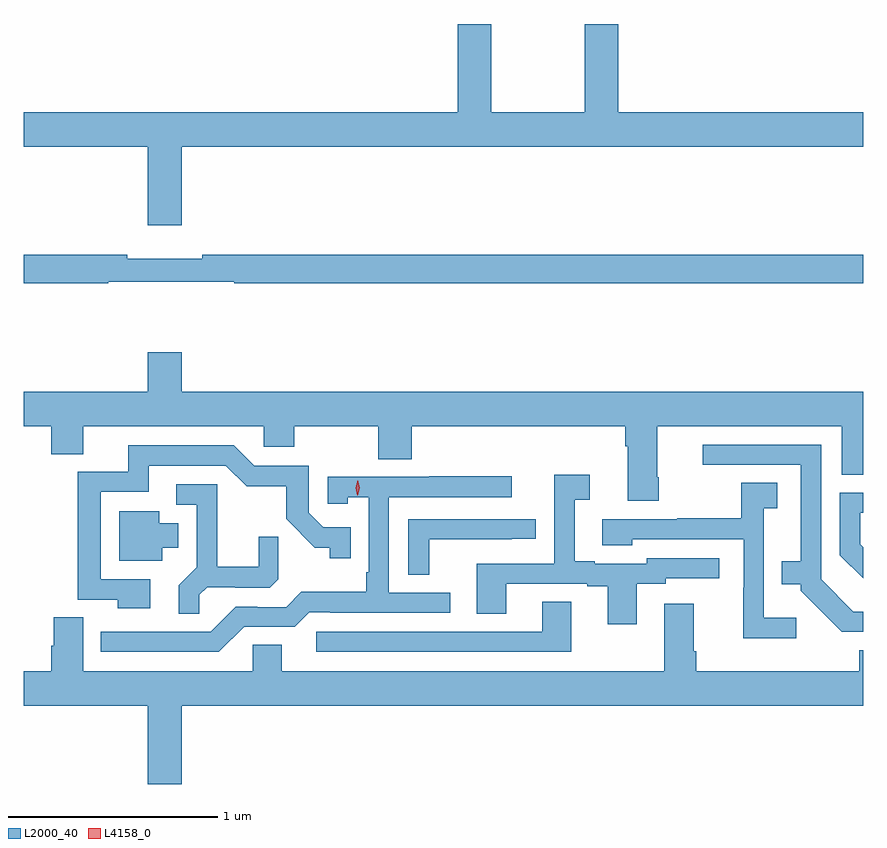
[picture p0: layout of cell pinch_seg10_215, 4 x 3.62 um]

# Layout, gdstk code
import gdstk
lib = gdstk.Library(unit=1e-6, precision=1e-09)
def P(c, l, *ps):  # polygons
    for p in ps: c.add(gdstk.Polygon(p, *l))
L2000_40 = (2000, 40)
L4158_0 = (4158, 0)

pinch_seg10_215 = lib.new_cell('pinch_seg10_215')
P(pinch_seg10_215, L2000_40, [(632.704,1321.628),(635.951,1321.628),(635.951,1321.792),(634.784,1321.792),(634.784,1322.213),(634.624,1322.213),(634.624,1321.792),(634.179,1321.792),(634.179,1322.213),(634.019,1322.213),(634.019,1321.792),(631.951,1321.792),(631.951,1321.628),(632.54,1321.628),(632.54,1321.254),(632.704,1321.254)],
  [(632.354,1320.984),(632.954,1320.984),(632.954,1320.976),(635.951,1320.976),(635.951,1321.112),(632.8,1321.112),(632.8,1321.093),(632.444,1321.093),(632.444,1321.112),(631.951,1321.112),(631.951,1320.976),(632.354,1320.976)],
  [(634.977,1320.052),(634.969,1320.052),(634.969,1320.296),(635.849,1320.296),(635.849,1320.064),(635.951,1320.064),(635.951,1320.46),(632.704,1320.46),(632.704,1320.649),(632.54,1320.649),(632.54,1320.46),(631.951,1320.46),(631.951,1320.296),(632.081,1320.296),(632.081,1320.163),(632.233,1320.163),(632.233,1320.296),(633.093,1320.296),(633.093,1320.198),(633.24,1320.198),(633.24,1320.296),(633.64,1320.296),(633.64,1320.139),(633.8,1320.139),(633.8,1320.296),(634.817,1320.296),(634.817,1320.2),(634.829,1320.2),(634.829,1319.94),(634.977,1319.94)],
  [(635.951,1319.412),(635.904,1319.412),(635.751,1319.565),(635.751,1320.207),(635.187,1320.207),(635.187,1320.111),(635.654,1320.111),(635.654,1319.653),(635.563,1319.653),(635.563,1319.543),(635.655,1319.543),(635.655,1319.511),(635.85,1319.316),(635.951,1319.316)],
  [(632.554,1319.565),(632.316,1319.565),(632.316,1319.982),(632.545,1319.982),(632.545,1320.108),(632.913,1320.108),(633.012,1320.01),(633.201,1320.01),(633.201,1319.854),(633.338,1319.717),(633.408,1319.717),(633.408,1319.667),(633.509,1319.667),(633.509,1319.814),(633.378,1319.814),(633.309,1319.883),(633.309,1320.108),(633.048,1320.108),(632.952,1320.204),(632.447,1320.204),(632.447,1320.078),(632.208,1320.078),(632.208,1319.469),(632.398,1319.469),(632.398,1319.429),(632.554,1319.429)],
  [(634.873,1319.544),(635.01,1319.544),(635.01,1319.571),(635.266,1319.571),(635.266,1319.667),(634.92,1319.667),(634.92,1319.64),(634.672,1319.64),(634.672,1319.653),(634.576,1319.653),(634.576,1319.944),(634.648,1319.944),(634.648,1320.064),(634.479,1320.064),(634.479,1319.64),(634.109,1319.64),(634.109,1319.401),(634.249,1319.401),(634.249,1319.544),(634.637,1319.544),(634.637,1319.532),(634.733,1319.532),(634.733,1319.352),(634.873,1319.352)],
  [(633,1319.34),(633.243,1319.34),(633.312,1319.409),(633.412,1319.409),(633.412,1319.406),(633.982,1319.406),(633.982,1319.502),(633.69,1319.502),(633.69,1319.958),(634.276,1319.958),(634.276,1320.057),(633.883,1320.057),(633.883,1320.054),(633.399,1320.054),(633.399,1319.925),(633.495,1319.925),(633.495,1319.957),(633.594,1319.957),(633.594,1319.599),(633.582,1319.599),(633.582,1319.506),(633.274,1319.506),(633.201,1319.433),(633.062,1319.433),(633.062,1319.436),(632.961,1319.436),(632.841,1319.316),(632.318,1319.316),(632.318,1319.22),(632.88,1319.22)],
  [(635.632,1319.383),(635.478,1319.383),(635.478,1319.905),(635.542,1319.905),(635.542,1320.026),(635.37,1320.026),(635.37,1319.856),(635.065,1319.856),(635.065,1319.853),(634.707,1319.853),(634.707,1319.729),(634.851,1319.729),(634.851,1319.757),(635.382,1319.757),(635.382,1319.525),(635.38,1319.525),(635.38,1319.285),(635.632,1319.285)],
  [(632.787,1319.492),(632.824,1319.529),(632.958,1319.529),(632.958,1319.526),(633.123,1319.526),(633.164,1319.567),(633.164,1319.769),(633.07,1319.769),(633.07,1319.626),(632.873,1319.626),(632.873,1320.018),(632.676,1320.018),(632.676,1319.922),(632.775,1319.922),(632.775,1319.623),(632.689,1319.537),(632.689,1319.401),(632.787,1319.401)],
  [(635.951,1319.719),(635.938,1319.732),(635.938,1319.882),(635.951,1319.882),(635.951,1319.979),(635.841,1319.979),(635.841,1319.681),(635.951,1319.571)],
  [(632.611,1319.717),(632.686,1319.717),(632.686,1319.833),(632.596,1319.833),(632.596,1319.89),(632.405,1319.89),(632.405,1319.654),(632.611,1319.654)],
  [(633.882,1319.757),(634.277,1319.757),(634.277,1319.758),(634.39,1319.758),(634.39,1319.853),(633.783,1319.853),(633.783,1319.587),(633.882,1319.587)],
  [(634.561,1319.459),(634.421,1319.459),(634.421,1319.316),(633.345,1319.316),(633.345,1319.22),(634.561,1319.22)],
  [(632.704,1318.964),(635.951,1318.964),(635.951,1319.227),(635.933,1319.227),(635.933,1319.128),(635.156,1319.128),(635.156,1319.224),(635.143,1319.224),(635.143,1319.449),(635.003,1319.449),(635.003,1319.128),(633.181,1319.128),(633.181,1319.255),(633.042,1319.255),(633.042,1319.128),(632.233,1319.128),(632.233,1319.384),(632.093,1319.384),(632.093,1319.25),(632.081,1319.25),(632.081,1319.128),(631.951,1319.128),(631.951,1318.964),(632.54,1318.964),(632.54,1318.59),(632.704,1318.59)])
P(pinch_seg10_215, L4158_0, [(633.541,1319.967),(633.541,1319.967),(633.532,1320.003),(633.543,1320.038),(633.543,1320.039),(633.543,1320.038),(633.552,1320.002),(633.542,1319.967)])

lib.write_gds('pinch_seg10_215.gds')
